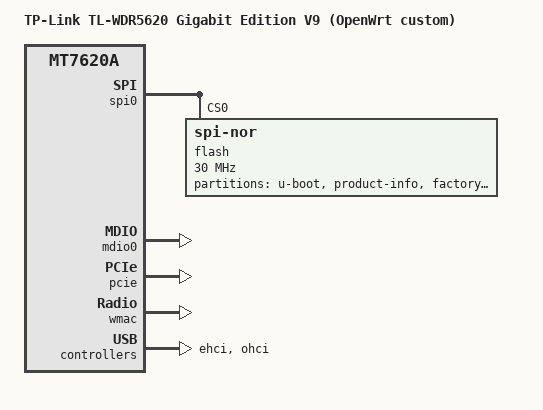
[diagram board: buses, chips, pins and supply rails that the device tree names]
// SPDX-License-Identifier: GPL-2.0-or-later OR MIT
//
// TP-Link TL-WDR5620 Gigabit Edition V9 ('OpenWrt custom' custom)
// SoC:   MT7620A   (2.4 GHz internal WMAC, eeprom @factory+0,   512B, magic 0x7620)
// 5 GHz: MT7663E   (PCIe ID 0x7663,      eeprom @factory+0x200, 1536B, magic 0x1234)
// Switch: RTL8367S-VB (RGMII to MT7620 GMAC, MDIO phy-id 29)
// Flash: 16 MB SPI NOR, original 0x0-0x20000 (u-boot + product info + caldata) untouched
//
// WARNING: keep the first 0x20000 bytes of flash identical to the factory image.

/dts-v1/;

#include "mt7620a.dtsi"

#include <dt-bindings/gpio/gpio.h>

/ {
	compatible = "tplink,wdr5620-v9", "ralink,mt7620a-soc";
	model = "TP-Link TL-WDR5620 Gigabit Edition V9 (OpenWrt custom)";

	aliases {
		label-mac-device = &ethernet;
	};

	chosen {
		bootargs = "console=ttyS0,115200";
	};

	rtl8367s {
		compatible = "realtek,rtl8367b";
		realtek,extif = <7 1 0 1 1 1 1 1 1 2>;
		mii-bus = <&mdio0>;
		phy-id = <29>;
	};
};

&state_default {
	gpio {
		groups = "i2c", "uartf", "ephy", "rgmii2";
		function = "gpio";
	};
};

&spi0 {
	status = "okay";

	flash@0 {
		compatible = "jedec,spi-nor";
		reg = <0>;
		spi-max-frequency = <30000000>;

		partitions {
			compatible = "fixed-partitions";
			#address-cells = <1>;
			#size-cells = <1>;

			partition@0 {
				label = "u-boot";
				reg = <0x0 0x1f000>;
				read-only;
			};

			product_info: partition@1f000 {
				label = "product-info";
				reg = <0x1f000 0x800>;
				read-only;

				nvmem-layout {
					compatible = "fixed-layout";
					#address-cells = <1>;
					#size-cells = <1>;

					// product info block starts with the 6-byte base MAC
					// (eth: +0, 2.4G: +1, 5G: +2)
					macaddr_info_0: macaddr@0 {
						compatible = "mac-base";
						reg = <0x0 0x6>;
						#nvmem-cell-cells = <1>;
					};
				};
			};

			factory: partition@1f800 {
				label = "factory";
				reg = <0x1f800 0x800>;
				read-only;

				nvmem-layout {
					compatible = "fixed-layout";
					#address-cells = <1>;
					#size-cells = <1>;

					eeprom_wmac_2g: eeprom@0 {
						reg = <0x0 0x200>;
					};

					eeprom_wmac_5g: eeprom@200 {
						reg = <0x200 0x600>;
					};
				};
			};

			firmware: partition@20000 {
				compatible = "tplink,firmware";
				label = "firmware";
				reg = <0x20000 0xfe0000>;
			};
		};
	};
};

&ethernet {
	pinctrl-names = "default";
	pinctrl-0 = <&rgmii1_pins &mdio_pins>;

	nvmem-cells = <&macaddr_info_0 0>;
	nvmem-cell-names = "mac-address";

	mediatek,portmap = "wllll";

	port@5 {
		status = "okay";
		phy-mode = "rgmii";
		mediatek,fixed-link = <1000 1 1 1>;
	};

	mdio0: mdio-bus {
		status = "okay";
	};
};

&pcie {
	status = "okay";
};

&pcie0 {
	wifi: mt76@0,0 {
		reg = <0x0000 0 0 0 0>;
		ieee80211-freq-limit = <5000000 6000000>;
	};
};

&wifi {
	nvmem-cells = <&eeprom_wmac_5g>, <&macaddr_info_0 2>;
	nvmem-cell-names = "eeprom", "mac-address";
};

&wmac {
	nvmem-cells = <&eeprom_wmac_2g>, <&macaddr_info_0 1>;
	nvmem-cell-names = "eeprom", "mac-address";
};

&ehci {
	status = "okay";
};

&ohci {
	status = "okay";
};
